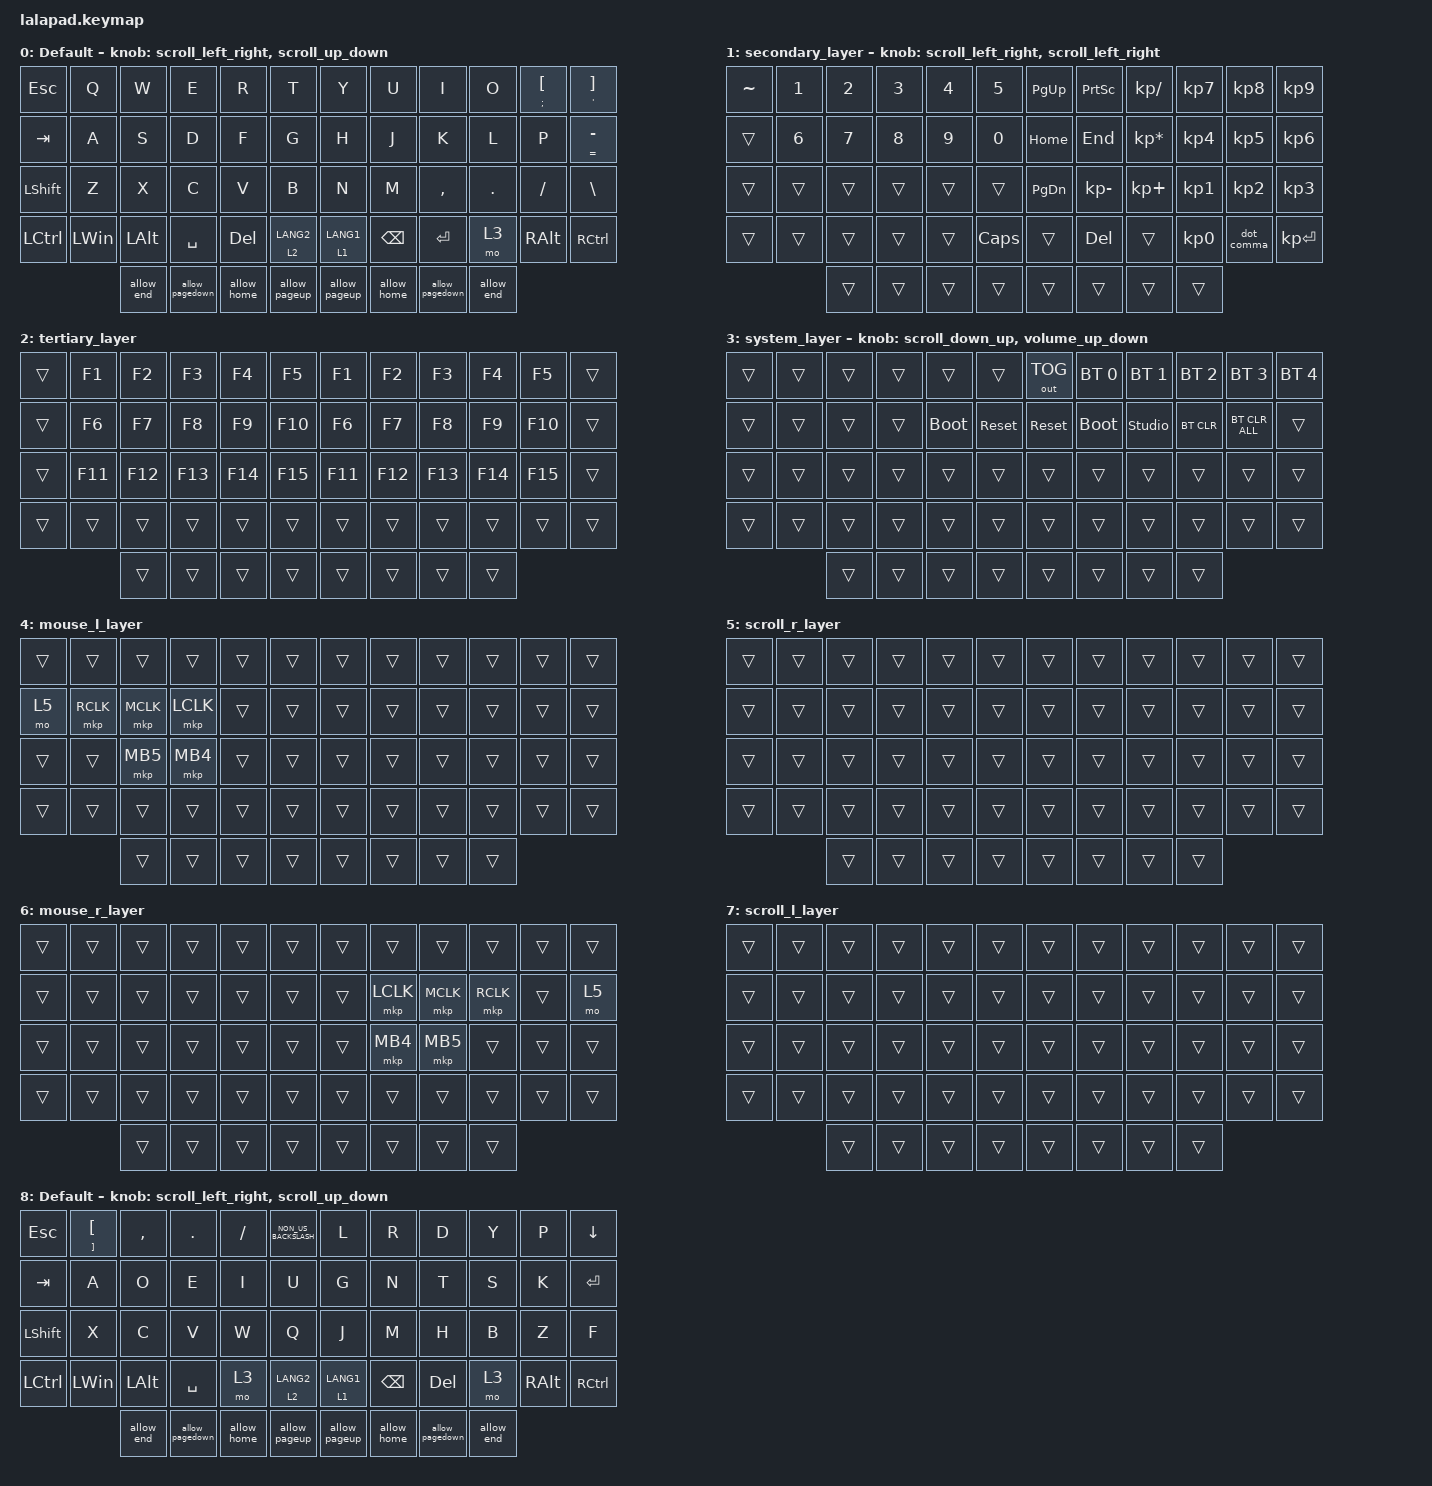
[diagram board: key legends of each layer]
#include <input/processors.dtsi>
#include <behaviors.dtsi>
#include <dt-bindings/zmk/bt.h>
#include <dt-bindings/zmk/keys.h>
#include <dt-bindings/zmk/outputs.h>
#include <dt-bindings/zmk/pointing.h>

#define DEFAULT_LAYER   0
#define SECONDARY_LAYER 1
#define TERTIARY_LAYER  2
#define SYSTEM_LAYER    3
#define MOUSE_R_LAYER   4
#define SCROLL_R_LAYER  5
#define MOUSE_L_LAYER   6
#define SCROLL_L_LAYER  7

// Mouse Scroll Value

#define ZMK_POINTING_DEFAULT_SCRL_VAL 100

// cirque trackpad input&layer control

&glidepoint_listener_R {
    input-processors =
        <&zip_xy_transform (INPUT_TRANSFORM_XY_SWAP | INPUT_TRANSFORM_X_INVERT | INPUT_TRANSFORM_Y_INVERT)>,
        <&zip_xy_scaler 3 2>,
        <&zip_temp_layer MOUSE_R_LAYER 500>;

    lowspeedmode {
        layers = <SECONDARY_LAYER>;
        input-processors =
            <&zip_xy_transform (INPUT_TRANSFORM_XY_SWAP | INPUT_TRANSFORM_X_INVERT | INPUT_TRANSFORM_Y_INVERT)>,
            <&zip_xy_scaler 3 5>,
            <&zip_temp_layer MOUSE_R_LAYER 500>;
    };

    scroller {
        layers = <SCROLL_R_LAYER>;
        input-processors =
            <&zip_xy_to_scroll_mapper>,
            <&zip_scroll_transform (INPUT_TRANSFORM_XY_SWAP | INPUT_TRANSFORM_Y_INVERT)>,
            <&zip_scroll_scaler 1 8>;
    };
};

&glidepoint_listener_L {
    input-processors =
        <&zip_xy_transform (INPUT_TRANSFORM_XY_SWAP | INPUT_TRANSFORM_X_INVERT | INPUT_TRANSFORM_Y_INVERT)>,
        <&zip_xy_scaler 3 2>,
        <&zip_temp_layer MOUSE_L_LAYER 500>;

    lowspeedmode {
        layers = <SECONDARY_LAYER>;
        input-processors =
            <&zip_xy_transform (INPUT_TRANSFORM_XY_SWAP | INPUT_TRANSFORM_X_INVERT | INPUT_TRANSFORM_Y_INVERT)>,
            <&zip_xy_scaler 3 4>,
            <&zip_temp_layer MOUSE_L_LAYER 500>;
    };

    scroller {
        layers = <SCROLL_L_LAYER>;
        input-processors =
            <&zip_xy_to_scroll_mapper>,
            <&zip_scroll_transform (INPUT_TRANSFORM_XY_SWAP | INPUT_TRANSFORM_Y_INVERT)>,
            <&zip_scroll_scaler 1 6>;
    };
};

/ {
    behaviors {
        // Encoder to Mouse Scroll

        scroll_up_down: behavior_sensor_rotate_mouse_wheel_up_down {
            compatible = "zmk,behavior-sensor-rotate";
            #sensor-binding-cells = <0>;
            bindings = <&msc SCRL_UP>, <&msc SCRL_DOWN>;

            tap-ms = <20>;
        };

        scroll_down_up: behavior_sensor_rotate_mouse_wheel_down_up {
            compatible = "zmk,behavior-sensor-rotate";
            #sensor-binding-cells = <0>;
            bindings = <&msc SCRL_DOWN>, <&msc SCRL_UP>;

            tap-ms = <20>;
        };

        scroll_left_right: behavior_sensor_rotate_mouse_wheel_left_right {
            compatible = "zmk,behavior-sensor-rotate";
            #sensor-binding-cells = <0>;
            bindings = <&msc SCRL_LEFT>, <&msc SCRL_RIGHT>;

            tap-ms = <20>;
        };

        scroll_right_left: behavior_sensor_rotate_mouse_wheel_right_left {
            compatible = "zmk,behavior-sensor-rotate";
            #sensor-binding-cells = <0>;
            bindings = <&msc SCRL_RIGHT>, <&msc SCRL_LEFT>;

            tap-ms = <20>;
        };

        volume_up_down: behavior_sensor_rotate_volume_up_down {
            compatible = "zmk,behavior-sensor-rotate";
            #sensor-binding-cells = <0>;
            bindings = <&kp C_VOLUME_UP>, <&kp C_VOLUME_DOWN>;

            tap-ms = <20>;
        };

        dot_comma: dot_comma {
            compatible = "zmk,behavior-mod-morph";
            #binding-cells = <0>;
            bindings = <&kp KP_DOT>, <&kp COMMA>;

            mods = <(MOD_LSFT|MOD_RSFT)>;
            label = "DOT_COMMA";
        };

        pls_minus: pls_minus {
            compatible = "zmk,behavior-mod-morph";
            #binding-cells = <0>;
            bindings = <&kp PLUS>, <&kp MINUS>;

            mods = <(MOD_LSFT|MOD_RSFT)>;
            label = "PLS_MINUS";
        };

        allow_pageup: allow_pageup {
            compatible = "zmk,behavior-mod-morph";
            #binding-cells = <0>;
            bindings = <&kp UP>, <&kp PAGE_UP>;

            mods = <(MOD_LCTL|MOD_RCTL)>;
            label = "ALLOW_PAGEUP";
        };

        allow_pagedown: allow_pagedown {
            compatible = "zmk,behavior-mod-morph";
            #binding-cells = <0>;
            bindings = <&kp DOWN>, <&kp PAGE_DOWN>;

            mods = <(MOD_LCTL|MOD_RCTL)>;
            label = "ALLOW_PAGEDOWN";
        };

        allow_home: allow_home {
            compatible = "zmk,behavior-mod-morph";
            #binding-cells = <0>;
            bindings = <&kp LEFT>, <&kp HOME>;

            mods = <(MOD_LCTL|MOD_RCTL)>;
            label = "ALLOW_HOME";
        };

        allow_end: allow_end {
            compatible = "zmk,behavior-mod-morph";
            #binding-cells = <0>;
            bindings = <&kp RIGHT>, <&kp END>;

            mods = <(MOD_LCTL|MOD_RCTL)>;
            label = "ALLOW_END";
        };

        mt2: mod_tap2 {
            compatible = "zmk,behavior-hold-tap";
            #binding-cells = <2>;
            flavor = "tap-preferred";
            tapping-term-ms = <200>;
            quick-tap-ms = <200>;
            require-prior-idle-ms = <125>;
            bindings = <&kp>, <&kp>;
        };
    };

    keymap {
        compatible = "zmk,keymap";

        DEFAULT_LAYER {
            display-name = "Default";
            sensor-bindings = <&scroll_left_right>, <&scroll_up_down>;

            bindings = <
&kp ESC    &kp Q         &kp W         &kp E            &kp R        &kp T          &kp Y          &kp U          &kp I            &kp O       &mt2 SEMI LBKT  &mt2 SQT RBKT
&kp TAB    &kp A         &kp S         &kp D            &kp F        &kp G          &kp H          &kp J          &kp K            &kp L       &kp P           &mt EQUAL MINUS
&kp LSHFT  &kp Z         &kp X         &kp C            &kp V        &kp B          &kp N          &kp M          &kp COMMA        &kp PERIOD  &kp SLASH       &kp BACKSLASH
&kp LCTRL  &kp LEFT_WIN  &kp LEFT_ALT  &kp SPACE        &kp DELETE   &lt 2 LANG2    &lt 1 LANG1    &kp BACKSPACE  &kp RET          &mo 3       &kp RIGHT_ALT   &kp RCTRL
                         &allow_end    &allow_pagedown  &allow_home  &allow_pageup  &allow_pageup  &allow_home    &allow_pagedown  &allow_end
            >;
        };

        SECONDARY_LAYER {
            display-name = "secondary_layer";
            sensor-bindings = <&scroll_left_right>, <&scroll_left_right>;

            bindings = <
&kp TILDE  &kp NUMBER_1  &kp NUMBER_2  &kp NUMBER_3  &kp NUMBER_4  &kp NUMBER_5  &kp PAGE_UP    &kp PRINTSCREEN  &kp KP_SLASH     &kp KP_NUMBER_7  &kp KP_NUMBER_8  &kp KP_NUMBER_9
&trans     &kp NUMBER_6  &kp NUMBER_7  &kp NUMBER_8  &kp NUMBER_9  &kp NUMBER_0  &kp HOME       &kp END          &kp KP_ASTERISK  &kp KP_NUMBER_4  &kp KP_NUMBER_5  &kp KP_NUMBER_6
&trans     &trans        &trans        &trans        &trans        &trans        &kp PAGE_DOWN  &kp KP_MINUS     &kp KP_PLUS      &kp KP_NUMBER_1  &kp KP_NUMBER_2  &kp KP_NUMBER_3
&trans     &trans        &trans        &trans        &trans        &kp CAPS      &trans         &kp DELETE       &trans           &kp KP_NUMBER_0  &dot_comma       &kp KP_ENTER
                         &trans        &trans        &trans        &trans        &trans         &trans           &trans           &trans
            >;
        };

        TERTIARY_LAYER {
            display-name = "tertiary_layer";
            bindings = <
&trans  &kp F1   &kp F2   &kp F3   &kp F4   &kp F5   &kp F1   &kp F2   &kp F3   &kp F4   &kp F5   &trans
&trans  &kp F6   &kp F7   &kp F8   &kp F9   &kp F10  &kp F6   &kp F7   &kp F8   &kp F9   &kp F10  &trans
&trans  &kp F11  &kp F12  &kp F13  &kp F14  &kp F15  &kp F11  &kp F12  &kp F13  &kp F14  &kp F15  &trans
&trans  &trans   &trans   &trans   &trans   &trans   &trans   &trans   &trans   &trans   &trans   &trans
                 &trans   &trans   &trans   &trans   &trans   &trans   &trans   &trans
            >;
        };

        SYSTEM_LAYER {
            display-name = "system_layer";
            sensor-bindings = <&scroll_down_up>, <&volume_up_down>;

            bindings = <
&trans  &trans  &trans  &trans  &trans       &trans      &out OUT_TOG  &bt BT_SEL 0  &bt BT_SEL 1    &bt BT_SEL 2  &bt BT_SEL 3    &bt BT_SEL 4
&trans  &trans  &trans  &trans  &bootloader  &sys_reset  &sys_reset    &bootloader   &studio_unlock  &bt BT_CLR    &bt BT_CLR_ALL  &trans
&trans  &trans  &trans  &trans  &trans       &trans      &trans        &trans        &trans          &trans        &trans          &trans
&trans  &trans  &trans  &trans  &trans       &trans      &trans        &trans        &trans          &trans        &trans          &trans
                &trans  &trans  &trans       &trans      &trans        &trans        &trans          &trans
            >;
        };

        MOUSE_L_LAYER {
            display-name = "mouse_l_layer";
            bindings = <
&trans  &trans     &trans     &trans     &trans  &trans  &trans  &trans  &trans  &trans  &trans  &trans
&mo 5   &mkp RCLK  &mkp MCLK  &mkp LCLK  &trans  &trans  &trans  &trans  &trans  &trans  &trans  &trans
&trans  &trans     &mkp MB5   &mkp MB4   &trans  &trans  &trans  &trans  &trans  &trans  &trans  &trans
&trans  &trans     &trans     &trans     &trans  &trans  &trans  &trans  &trans  &trans  &trans  &trans
                   &trans     &trans     &trans  &trans  &trans  &trans  &trans  &trans
            >;
        };

        SCROLL_R_LAYER {
            display-name = "scroll_r_layer";
            bindings = <
&trans  &trans  &trans  &trans  &trans  &trans  &trans  &trans  &trans  &trans  &trans  &trans
&trans  &trans  &trans  &trans  &trans  &trans  &trans  &trans  &trans  &trans  &trans  &trans
&trans  &trans  &trans  &trans  &trans  &trans  &trans  &trans  &trans  &trans  &trans  &trans
&trans  &trans  &trans  &trans  &trans  &trans  &trans  &trans  &trans  &trans  &trans  &trans
                &trans  &trans  &trans  &trans  &trans  &trans  &trans  &trans
            >;
        };

        MOUSE_R_LAYER {
            display-name = "mouse_r_layer";
            bindings = <
&trans  &trans  &trans  &trans  &trans  &trans  &trans  &trans     &trans     &trans     &trans  &trans
&trans  &trans  &trans  &trans  &trans  &trans  &trans  &mkp LCLK  &mkp MCLK  &mkp RCLK  &trans  &mo 5
&trans  &trans  &trans  &trans  &trans  &trans  &trans  &mkp MB4   &mkp MB5   &trans     &trans  &trans
&trans  &trans  &trans  &trans  &trans  &trans  &trans  &trans     &trans     &trans     &trans  &trans
                &trans  &trans  &trans  &trans  &trans  &trans     &trans     &trans
            >;
        };

        SCROLL_L_LAYER {
            display-name = "scroll_l_layer";
            bindings = <
&trans  &trans  &trans  &trans  &trans  &trans  &trans  &trans  &trans  &trans  &trans  &trans
&trans  &trans  &trans  &trans  &trans  &trans  &trans  &trans  &trans  &trans  &trans  &trans
&trans  &trans  &trans  &trans  &trans  &trans  &trans  &trans  &trans  &trans  &trans  &trans
&trans  &trans  &trans  &trans  &trans  &trans  &trans  &trans  &trans  &trans  &trans  &trans
                &trans  &trans  &trans  &trans  &trans  &trans  &trans  &trans
            >;
        };

        TomisukeLayer {
            display-name = "Default";
            bindings = <
&kp ESC    &mt2 RIGHT_BRACKET LEFT_BRACKET  &kp COMMA     &kp PERIOD       &kp SLASH    &kp NON_US_BACKSLASH  &kp L          &kp R          &kp D            &kp Y       &kp P          &kp DOWN
&kp TAB    &kp A                            &kp O         &kp E            &kp I        &kp U                 &kp G          &kp N          &kp T            &kp S       &kp K          &kp ENTER
&kp LSHFT  &kp X                            &kp C         &kp V            &kp W        &kp Q                 &kp J          &kp M          &kp H            &kp B       &kp Z          &kp F
&kp LCTRL  &kp LEFT_WIN                     &kp LEFT_ALT  &kp SPACE        &mo 3        &lt 2 LANG2           &lt 1 LANG1    &kp BACKSPACE  &kp DELETE       &mo 3       &kp RIGHT_ALT  &kp RCTRL
                                            &allow_end    &allow_pagedown  &allow_home  &allow_pageup         &allow_pageup  &allow_home    &allow_pagedown  &allow_end
            >;

            sensor-bindings = <&scroll_left_right>, <&scroll_up_down>;
        };
    };
};
